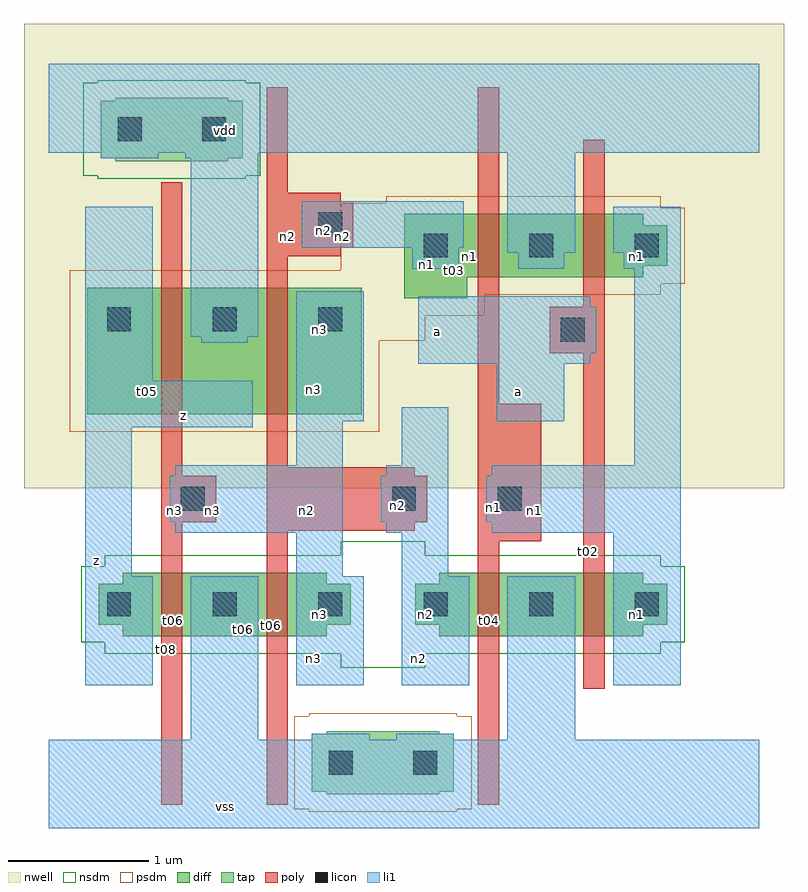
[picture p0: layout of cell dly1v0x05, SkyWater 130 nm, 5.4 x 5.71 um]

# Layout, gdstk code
import gdstk
lib = gdstk.Library(unit=1e-6, precision=5e-09)
def R(c, l, rs):  # rectangles x0, y0, x1, y1
    for r in rs: c.add(gdstk.rectangle(r[:2], r[2:], *l))
def A(c, l, x, y, w, h, nx, ny, dx, dy):  # array of equal rectangles
    R(c, l, [(x+i*dx, y+j*dy, x+i*dx+w, y+j*dy+h) for i in range(nx) for j in range(ny)])
nwell = (64, 20)
diff = (65, 20)
tap = (65, 44)
poly = (66, 20)
licon = (66, 44)
li1 = (67, 20)
nsdm = (93, 44)
psdm = (94, 20)

dly1v0x05 = lib.new_cell('dly1v0x05')
R(dly1v0x05, nwell, [(-0.3,2.4,5.1,5.7)])
R(dly1v0x05, diff, [(0.4,1.35,1.85,1.8), (2.65,1.35,4.1,1.8), (0.23,1.43,2.02,1.72), (2.48,1.43,4.27,1.72), (0.15,2.925,2.1,3.825), (2.4,3.75,2.85,4.35), (2.4,3.9,4.1,4.35), (2.4,3.98,4.27,4.27)])
R(dly1v0x05, tap, [(1.85,0.225,2.65,0.675), (1.745,0.245,2.755,0.655), (0.35,4.725,1.15,5.175), (0.245,4.745,1.255,5.155)])
R(dly1v0x05, poly, [(0.675,0.15,0.825,4.575), (1.425,0.15,1.575,5.25), (2.925,0.15,3.075,5.25), (3.675,0.975,3.825,4.875), (2.925,2.025,3.375,3), (1.425,2.1,2.475,2.55), (0.675,2.16,1.065,2.49), (1.425,2.16,2.565,2.49), (3.435,3.36,3.825,3.69), (1.425,4.05,1.95,4.5), (1.425,4.11,2.04,4.44)])
A(dly1v0x05, licon, 0.29, 1.49, 0.17, 0.17, 6, 1, 0.75, 0)
A(dly1v0x05, licon, 0.29, 3.515, 0.17, 0.17, 3, 1, 0.75, 0)
A(dly1v0x05, licon, 2.54, 4.04, 0.17, 0.17, 3, 1, 0.75, 0)
R(dly1v0x05, licon, [(1.865,0.365,2.035,0.535), (2.465,0.365,2.635,0.535), (0.815,2.24,0.985,2.41), (2.315,2.24,2.485,2.41), (3.065,2.24,3.235,2.41), (3.515,3.44,3.685,3.61), (1.79,4.19,1.96,4.36), (0.365,4.865,0.535,5.035), (0.965,4.865,1.135,5.035)])
R(dly1v0x05, li1, [(-0.125,-0.015,4.925,0.615), (-0.125,-0.015,4.925,0.615), (0.885,-0.015,1.365,1.775), (1.745,-0.015,2.155,0.655), (2.345,-0.015,2.755,0.655), (3.135,-0.015,3.615,1.775), (0.135,1,0.615,1.775), (0.135,1,0.465,4.4), (1.635,1,2.115,1.775), (1.635,1,1.965,3.8), (2.385,1,2.865,1.775), (2.385,1,2.715,2.975), (3.885,1,4.365,2.565), (4.035,1,4.365,4.4), (0.135,1.075,0.465,4.325), (0.775,2.085,1.965,2.565), (2.275,2.085,2.715,2.565), (3.025,2.085,4.365,2.565), (0.735,2.16,1.965,2.49), (2.235,2.16,2.715,2.49), (2.985,2.16,4.365,2.49), (0.135,2.835,0.615,4.4), (0.135,2.835,1.325,3.165), (0.775,2.835,1.025,3.165), (1.635,2.875,2.115,3.8), (3.06,2.875,3.54,3.765), (3.135,2.875,3.465,3.725), (2.5,3.285,3.725,3.765), (2.5,3.36,3.765,3.69), (0.96,3.435,1.29,5.415), (2.575,3.435,2.825,3.765), (0.885,3.475,1.365,5.415), (2.46,3.96,2.79,4.44), (3.21,3.96,3.54,5.415), (3.96,3.96,4.365,4.4), (3.135,4.075,3.615,5.415), (3.885,4.075,4.365,4.4), (1.675,4.11,2.825,4.44), (0.245,4.745,0.655,5.415), (0.845,4.745,1.365,5.415), (-0.125,4.785,4.925,5.415), (-0.125,4.785,4.925,5.415)])
A(dly1v0x05, nsdm, 0.23, 1.43, 0.29, 0.29, 6, 1, 0.75, 0)
R(dly1v0x05, nsdm, [(1.95,1.125,2.55,2.025), (0.275,1.225,4.225,1.925), (0.105,1.305,4.395,1.845), (0.975,1.35,1.275,1.8), (0.975,1.35,1.275,1.8), (3.225,1.35,3.525,1.8), (3.225,1.35,3.525,1.8), (0.225,4.6,1.275,5.3), (0.12,4.62,1.38,5.28)])
A(dly1v0x05, psdm, 0.23, 3.455, 0.29, 0.29, 3, 1, 0.75, 0)
A(dly1v0x05, psdm, 2.48, 3.98, 0.29, 0.29, 3, 1, 0.75, 0)
R(dly1v0x05, psdm, [(1.725,0.1,2.775,0.8), (1.62,0.12,2.88,0.78), (0.025,2.8,2.225,3.95), (0.15,2.925,0.6,3.825), (0.15,2.925,0.6,3.825), (0.975,2.925,1.275,3.825), (0.975,2.925,1.275,3.825), (1.65,2.925,2.1,3.825), (1.65,2.925,2.1,3.825), (0.025,3.45,2.55,3.95), (1.95,3.45,2.55,4.425), (1.95,3.625,2.975,4.425), (2.275,3.625,2.975,4.475), (2.4,3.75,2.85,4.35), (2.4,3.75,2.85,4.35), (1.95,3.775,4.225,4.425), (2.275,3.775,4.225,4.475), (1.95,3.855,4.395,4.395), (3.225,3.9,3.525,4.35), (3.225,3.9,3.525,4.35)])
dly1v0x05.add(gdstk.Label('t06', (1.26,1.4), layer=93, texttype=44))
dly1v0x05.add(gdstk.Label('n2', (1.175,1.44), layer=93, texttype=44))
dly1v0x05.add(gdstk.Label('t05', (0.575,3.085), layer=94, texttype=20))
dly1v0x05.add(gdstk.Label('t03', (2.76,3.95), layer=94, texttype=20))
dly1v0x05.add(gdstk.Label('n1', (2.56,3.99), layer=94, texttype=20))
dly1v0x05.add(gdstk.Label('t06', (0.76,1.46), layer=65, texttype=20))
dly1v0x05.add(gdstk.Label('n3', (0.675,1.5), layer=65, texttype=20))
dly1v0x05.add(gdstk.Label('t05', (0.635,3.15), layer=65, texttype=20))
dly1v0x05.add(gdstk.Label('t04', (3.01,1.46), layer=65, texttype=20))
dly1v0x05.add(gdstk.Label('n2', (2.925,1.5), layer=65, texttype=20))
dly1v0x05.add(gdstk.Label('t03', (2.825,4.01), layer=65, texttype=20))
dly1v0x05.add(gdstk.Label('n1', (2.865,4.05), layer=65, texttype=20))
dly1v0x05.add(gdstk.Label('n3', (1.8,1.5), layer=93, texttype=44))
dly1v0x05.add(gdstk.Label('n2', (2.55,1.5), layer=93, texttype=44))
dly1v0x05.add(gdstk.Label('n1', (4.05,1.5), layer=93, texttype=44))
dly1v0x05.add(gdstk.Label('n3', (1.8,3.525), layer=94, texttype=20))
dly1v0x05.add(gdstk.Label('n2', (2.55,4.05), layer=94, texttype=20))
dly1v0x05.add(gdstk.Label('n1', (4.05,4.05), layer=94, texttype=20))
dly1v0x05.add(gdstk.Label('n3', (0.77,2.24), layer=66, texttype=20))
dly1v0x05.add(gdstk.Label('t08', (0.71,1.255), layer=66, texttype=20))
dly1v0x05.add(gdstk.Label('t06', (1.46,1.425), layer=66, texttype=20))
dly1v0x05.add(gdstk.Label('n2', (1.575,4.19), layer=66, texttype=20))
dly1v0x05.add(gdstk.Label('n2', (1.71,2.24), layer=66, texttype=20))
dly1v0x05.add(gdstk.Label('n1', (3.035,2.265), layer=66, texttype=20))
dly1v0x05.add(gdstk.Label('t04', (2.96,1.425), layer=66, texttype=20))
dly1v0x05.add(gdstk.Label('t02', (3.71,1.95), layer=66, texttype=20))
dly1v0x05.add(gdstk.Label('n3', (0.855,2.28), layer=66, texttype=44))
dly1v0x05.add(gdstk.Label('n3', (1.83,1.53), layer=66, texttype=44))
dly1v0x05.add(gdstk.Label('n3', (1.83,3.555), layer=66, texttype=44))
dly1v0x05.add(gdstk.Label('n2', (1.83,4.23), layer=66, texttype=44))
dly1v0x05.add(gdstk.Label('n2', (2.355,2.28), layer=66, texttype=44))
dly1v0x05.add(gdstk.Label('n2', (2.58,1.53), layer=66, texttype=44))
dly1v0x05.add(gdstk.Label('n1', (3.105,2.28), layer=66, texttype=44))
dly1v0x05.add(gdstk.Label('n1', (4.08,1.53), layer=66, texttype=44))
dly1v0x05.add(gdstk.Label('n2', (2.58,4.08), layer=66, texttype=44))
dly1v0x05.add(gdstk.Label('n1', (4.08,4.08), layer=66, texttype=44))
dly1v0x05.add(gdstk.Label('z', (0.215,1.885), layer=67, texttype=20))
dly1v0x05.add(gdstk.Label('z', (0.835,2.915), layer=67, texttype=20))
dly1v0x05.add(gdstk.Label('n3', (1.755,1.19), layer=67, texttype=20))
dly1v0x05.add(gdstk.Label('n2', (2.355,2.24), layer=67, texttype=20))
dly1v0x05.add(gdstk.Label('n3', (1.04,2.24), layer=67, texttype=20))
dly1v0x05.add(gdstk.Label('n3', (1.755,3.105), layer=67, texttype=20))
dly1v0x05.add(gdstk.Label('a', (2.635,3.515), layer=67, texttype=20))
dly1v0x05.add(gdstk.Label('n2', (2.54,4.08), layer=67, texttype=20))
dly1v0x05.add(gdstk.Label('n2', (1.96,4.19), layer=67, texttype=20))
dly1v0x05.add(gdstk.Label('n2', (2.505,1.19), layer=67, texttype=20))
dly1v0x05.add(gdstk.Label('a', (3.215,3.085), layer=67, texttype=20))
dly1v0x05.add(gdstk.Label('vss', (1.135,0.14), layer=67, texttype=20))
dly1v0x05.add(gdstk.Label('n1', (3.33,2.24), layer=67, texttype=20))
dly1v0x05.add(gdstk.Label('n1', (4.06,4.07), layer=67, texttype=20))
dly1v0x05.add(gdstk.Label('vdd', (1.135,4.94), layer=67, texttype=20))

lib.write_gds('dly1v0x05.gds')
